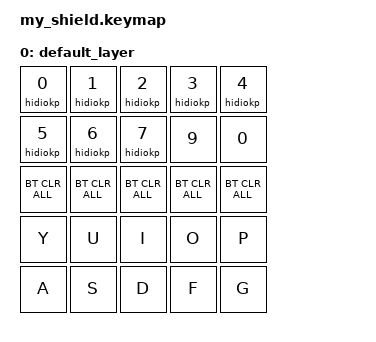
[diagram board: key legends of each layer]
#include <behaviors.dtsi>
#include <dt-bindings/zmk/keys.h>
#include <dt-bindings/zmk/bt.h>

/ {
    keymap {
        compatible = "zmk,keymap";
        default_layer {
            bindings = <
                &hidiokp 0 &hidiokp 1 &hidiokp 2 &hidiokp 3 &hidiokp 4
                &hidiokp 5 &hidiokp 6 &hidiokp 7 &kp N9      &kp N0
                &bt BT_CLR_ALL &bt BT_CLR_ALL &bt BT_CLR_ALL &bt BT_CLR_ALL &bt BT_CLR_ALL
                &kp Y      &kp U      &kp I      &kp O      &kp P
                &kp A      &kp S      &kp D      &kp F      &kp G
            >;
        };
    };
};
